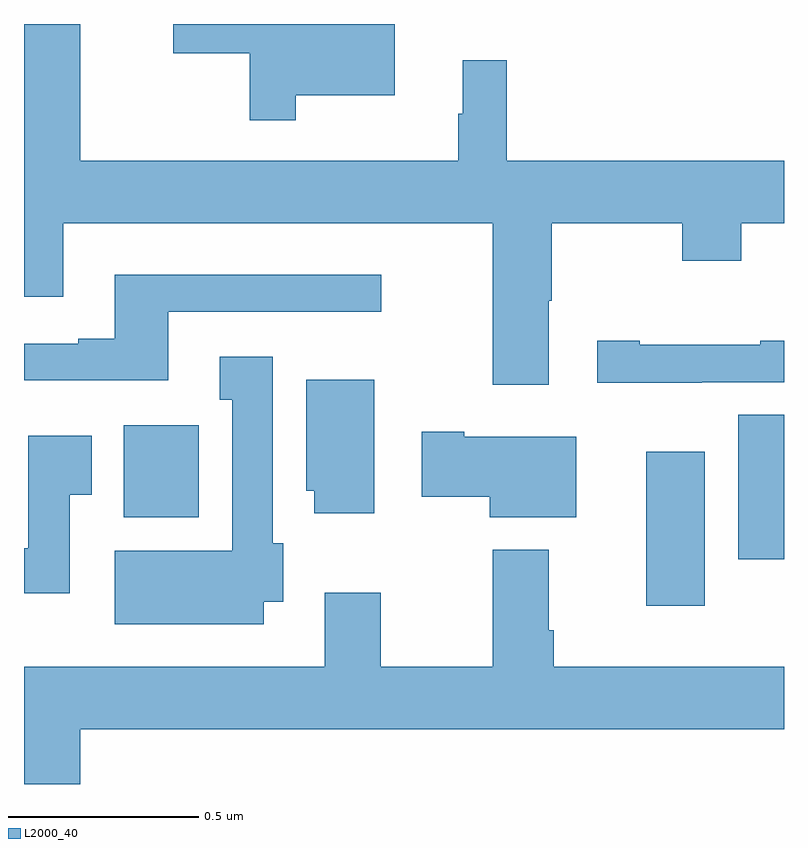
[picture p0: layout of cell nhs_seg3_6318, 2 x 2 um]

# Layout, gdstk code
import gdstk
lib = gdstk.Library(unit=1e-6, precision=1e-09)
def R(c, l, rs):  # rectangles x0, y0, x1, y1
    for r in rs: c.add(gdstk.rectangle(r[:2], r[2:], *l))
def P(c, l, *ps):  # polygons
    for p in ps: c.add(gdstk.Polygon(p, *l))
L2000_40 = (2000, 40)

nhs_seg3_6318 = lib.new_cell('nhs_seg3_6318')
R(nhs_seg3_6318, L2000_40, [(190.637,739.869,190.792,740.275), (190.88,739.992,191,740.372), (189.263,740.102,189.46,740.344)])
P(nhs_seg3_6318, L2000_40, [(190.381,740.672),(190.389,740.672),(190.389,740.876),(190.732,740.876),(190.732,740.777),(190.887,740.777),(190.887,740.876),(191,740.876),(191,741.04),(190.271,741.04),(190.271,741.304),(190.154,741.304),(190.154,741.164),(190.143,741.164),(190.143,741.04),(189.148,741.04),(189.148,741.4),(189,741.4),(189,740.682),(189.103,740.682),(189.103,740.876),(190.234,740.876),(190.234,740.451),(190.381,740.451)],
  [(189.715,741.212),(189.976,741.212),(189.976,741.4),(189.393,741.4),(189.393,741.323),(189.594,741.323),(189.594,741.147),(189.715,741.147)],
  [(189.379,740.643),(189.94,740.643),(189.94,740.74),(189.239,740.74),(189.239,740.572),(189.143,740.572),(189.143,740.559),(189,740.559),(189,740.462),(189.379,740.462)],
  [(190.784,740.457),(191,740.457),(191,740.566),(190.937,740.566),(190.937,740.556),(190.621,740.556),(190.621,740.566),(190.509,740.566),(190.509,740.456),(190.784,740.456)],
  [(189.631,739.88),(189.682,739.88),(189.682,740.034),(189.655,740.034),(189.655,740.524),(189.515,740.524),(189.515,740.411),(189.548,740.411),(189.548,740.014),(189.239,740.014),(189.239,739.82),(189.631,739.82)],
  [(189.922,740.464),(189.743,740.464),(189.743,740.172),(189.764,740.172),(189.764,740.112),(189.922,740.112)],
  [(190.453,740.314),(190.159,740.314),(190.159,740.327),(190.047,740.327),(190.047,740.156),(190.226,740.156),(190.226,740.102),(190.453,740.102)],
  [(189.121,740.161),(189.178,740.161),(189.178,740.317),(189.011,740.317),(189.011,740.02),(189,740.02),(189,739.902),(189.121,739.902)],
  [(189.148,739.544),(191,739.544),(191,739.708),(190.394,739.708),(190.394,739.804),(190.381,739.804),(190.381,740.017),(190.234,740.017),(190.234,739.708),(189.939,739.708),(189.939,739.903),(189.791,739.903),(189.791,739.708),(189,739.708),(189,739.4),(189.148,739.4)])

lib.write_gds('nhs_seg3_6318.gds')
